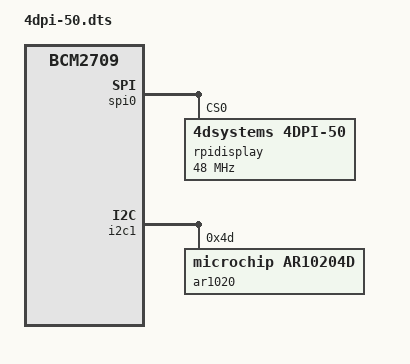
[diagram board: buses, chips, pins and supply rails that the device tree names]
/*
 * Device Tree overlay for 4DPi-50 by 4D Systems
 *
 */

/dts-v1/;
/plugin/;

/ {
	compatible = "brcm,bcm2835", "brcm,bcm2708", "brcm,bcm2709";

	fragment@0 {
		target = <&spi0>;
		__overlay__ {
			compatible = "brcm,bcm2708-spi-dma";
			status = "okay";

			spidev@0{
				status = "disabled";
			};
		};
	};

        fragment@1 {
		target = <&spi0>;
		__overlay__ {
			/* needed to avoid dtc warning */
			#address-cells = <1>;
			#size-cells = <0>;

			rpidisplay: rpi-display@0{
                                compatible = "4dsystems,4dpi-50";
				reg = <0>;


                                spi-max-frequency = <48000000>;
                                /*
                                rotate = <0>;
                                rotate-codes = /bits/ 8 <0x03 0x05 0x00 0x06>;
                                */
                        };
		};
	};

        fragment@2 {
                target = <&i2c1>;
                __overlay__ {
                        #address-cells = <1>;
                        #size-cells = <0>;
                        status = "okay";

                        ar1020@4d {
                                compatible = "microchip,ar10204d";
                                reg = <0x4d>;
                                status = "okay";
                        };
                };
        };


/*        __overrides__ {
                speed =   <&rpidisplay>,"spi-max-frequency:0";
                rotate =  <&rpidisplay>,"rotate:0";
        };
*/
};
